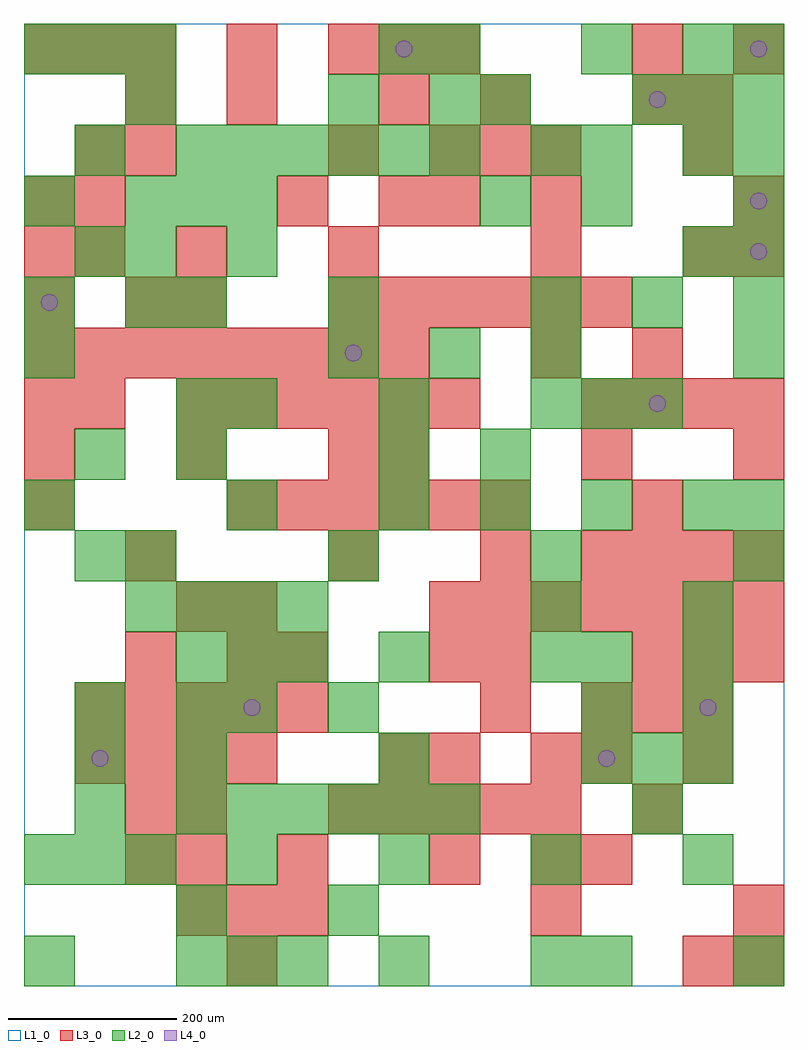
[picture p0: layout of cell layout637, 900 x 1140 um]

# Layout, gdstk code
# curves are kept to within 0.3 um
import gdstk
lib = gdstk.Library(unit=1e-6, precision=1e-09)
def R(c, l, rs):  # rectangles x0, y0, x1, y1
    for r in rs: c.add(gdstk.rectangle(r[:2], r[2:], *l))
def A(c, l, x, y, w, h, nx, ny, dx, dy):  # array of equal rectangles
    R(c, l, [(x+i*dx, y+j*dy, x+i*dx+w, y+j*dy+h) for i in range(nx) for j in range(ny)])
def P(c, l, *ps):  # polygons
    for p in ps: c.add(gdstk.Polygon(p, *l))
L1_0 = (1, 0)
L2_0 = (2, 0)
L3_0 = (3, 0)
L4_0 = (4, 0)

layout637 = lib.new_cell('layout637')
R(layout637, L1_0, [(0,0,900,1140)])
A(layout637, L2_0, 180, 0, 60, 60, 3, 2, 60, 360)
A(layout637, L2_0, 0, 120, 60, 60, 3, 2, 60, 960)
A(layout637, L2_0, 240, 120, 60, 60, 4, 1, 180, 0)
A(layout637, L2_0, 60, 180, 60, 60, 1, 3, 0, 60)
A(layout637, L2_0, 180, 180, 60, 60, 6, 2, 60, 780)
A(layout637, L2_0, 180, 240, 60, 60, 3, 1, 240, 0)
A(layout637, L2_0, 780, 240, 60, 60, 1, 4, 0, 60)
A(layout637, L2_0, 120, 420, 60, 60, 4, 1, 60, 0)
A(layout637, L2_0, 120, 480, 60, 60, 4, 1, 240, 0)
A(layout637, L2_0, 420, 540, 60, 60, 4, 1, 120, 0)
A(layout637, L2_0, 240, 660, 60, 60, 3, 1, 180, 0)
A(layout637, L2_0, 360, 720, 60, 60, 3, 1, 120, 0)
A(layout637, L2_0, 600, 780, 60, 60, 3, 1, 120, 0)
A(layout637, L2_0, 780, 840, 60, 60, 1, 3, 0, 120)
A(layout637, L2_0, 840, 840, 60, 60, 1, 3, 0, 60)
A(layout637, L2_0, 120, 900, 60, 60, 3, 1, 60, 0)
A(layout637, L2_0, 720, 1020, 60, 60, 3, 1, 60, 0)
R(layout637, L2_0, [(0,0,60,60), (420,0,480,60), (600,0,660,60), (660,0,720,60), (840,0,900,60), (180,60,240,120), (360,60,420,120), (720,180,780,240), (720,240,780,300), (180,300,240,360), (240,300,300,360), (360,300,420,360), (660,300,720,360), (420,360,480,420), (600,360,660,420), (660,360,720,420), (600,420,660,480), (60,480,120,540), (0,540,60,600), (240,540,300,600), (840,540,900,600), (60,600,120,660), (180,600,240,660), (420,600,480,660), (540,600,600,660), (180,660,240,720), (660,660,720,720), (720,660,780,720), (0,720,60,780), (840,720,900,780), (0,780,60,840), (120,780,180,840), (180,780,240,840), (360,780,420,840), (60,840,120,900), (120,840,180,900), (240,840,300,900), (0,900,60,960), (540,900,600,960), (660,900,720,960), (60,960,120,1020), (600,960,660,1020), (660,960,720,1020), (120,1020,180,1080), (360,1020,420,1080), (480,1020,540,1080), (540,1020,600,1080), (420,1080,480,1140), (480,1080,540,1140), (660,1080,720,1140), (840,1080,900,1140)])
A(layout637, L3_0, 180, 60, 60, 60, 3, 1, 60, 0)
A(layout637, L3_0, 480, 120, 60, 60, 1, 3, 0, 120)
A(layout637, L3_0, 360, 180, 60, 60, 5, 1, 60, 0)
A(layout637, L3_0, 60, 240, 60, 60, 4, 1, 60, 0)
A(layout637, L3_0, 60, 300, 60, 60, 5, 1, 60, 0)
A(layout637, L3_0, 660, 300, 60, 60, 3, 1, 60, 0)
A(layout637, L3_0, 720, 360, 60, 60, 3, 1, 60, 0)
A(layout637, L3_0, 480, 420, 60, 60, 7, 1, 60, 0)
A(layout637, L3_0, 660, 480, 60, 60, 4, 2, 60, 180)
A(layout637, L3_0, 0, 540, 60, 60, 1, 3, 0, 120)
A(layout637, L3_0, 240, 540, 60, 60, 6, 1, 60, 0)
A(layout637, L3_0, 0, 600, 60, 60, 3, 1, 180, 0)
A(layout637, L3_0, 180, 660, 60, 60, 6, 1, 60, 0)
A(layout637, L3_0, 0, 720, 60, 60, 8, 1, 60, 0)
A(layout637, L3_0, 360, 780, 60, 60, 6, 1, 60, 0)
A(layout637, L3_0, 60, 840, 60, 60, 1, 3, 0, 60)
A(layout637, L3_0, 480, 960, 60, 60, 3, 1, 60, 0)
A(layout637, L3_0, 0, 1080, 60, 60, 3, 1, 60, 0)
A(layout637, L3_0, 360, 1080, 60, 60, 3, 1, 60, 0)
R(layout637, L3_0, [(240,0,300,60), (780,0,840,60), (840,0,900,60), (600,60,660,120), (840,60,900,120), (120,120,180,180), (180,120,240,180), (300,120,360,180), (600,120,660,180), (660,120,720,180), (120,180,180,240), (180,180,240,240), (720,180,780,240), (420,240,480,300), (600,240,660,300), (660,240,720,300), (780,240,840,300), (540,300,600,360), (120,360,180,420), (240,360,300,420), (300,360,360,420), (540,360,600,420), (180,420,240,480), (240,420,300,480), (120,480,180,540), (360,480,420,540), (540,480,600,540), (720,540,780,600), (420,600,480,660), (660,600,720,660), (840,600,900,660), (60,660,120,720), (600,720,660,780), (720,720,780,780), (120,780,180,840), (180,780,240,840), (0,840,60,900), (180,840,240,900), (360,840,420,900), (600,840,660,900), (780,840,840,900), (840,840,900,900), (0,900,60,960), (300,900,360,960), (420,900,480,960), (480,900,540,960), (600,900,660,960), (840,900,900,960), (120,960,180,1020), (360,960,420,1020), (780,960,840,1020), (120,1020,180,1080), (240,1020,300,1080), (420,1020,480,1080), (540,1020,600,1080), (720,1020,780,1080), (780,1020,840,1080), (240,1080,300,1140), (720,1080,780,1140), (840,1080,900,1140)])
P(layout637, L4_0, [(40,810),(39.239,813.827),(37.071,817.071),(33.827,819.239),(30,820),(26.173,819.239),(22.929,817.071),(20.761,813.827),(20,810),(20.761,806.173),(22.929,802.929),(26.173,800.761),(30,800),(33.827,800.761),(37.071,802.929),(39.239,806.173)],
  [(100,270),(99.239,273.827),(97.071,277.071),(93.827,279.239),(90,280),(86.173,279.239),(82.929,277.071),(80.761,273.827),(80,270),(80.761,266.173),(82.929,262.929),(86.173,260.761),(90,260),(93.827,260.761),(97.071,262.929),(99.239,266.173)],
  [(280,330),(279.239,333.827),(277.071,337.071),(273.827,339.239),(270,340),(266.173,339.239),(262.929,337.071),(260.761,333.827),(260,330),(260.761,326.173),(262.929,322.929),(266.173,320.761),(270,320),(273.827,320.761),(277.071,322.929),(279.239,326.173)],
  [(400,750),(399.239,753.827),(397.071,757.071),(393.827,759.239),(390,760),(386.173,759.239),(382.929,757.071),(380.761,753.827),(380,750),(380.761,746.173),(382.929,742.929),(386.173,740.761),(390,740),(393.827,740.761),(397.071,742.929),(399.239,746.173)],
  [(460,1110),(459.239,1113.827),(457.071,1117.071),(453.827,1119.239),(450,1120),(446.173,1119.239),(442.929,1117.071),(440.761,1113.827),(440,1110),(440.761,1106.173),(442.929,1102.929),(446.173,1100.761),(450,1100),(453.827,1100.761),(457.071,1102.929),(459.239,1106.173)],
  [(700,270),(699.239,273.827),(697.071,277.071),(693.827,279.239),(690,280),(686.173,279.239),(682.929,277.071),(680.761,273.827),(680,270),(680.761,266.173),(682.929,262.929),(686.173,260.761),(690,260),(693.827,260.761),(697.071,262.929),(699.239,266.173)],
  [(760,690),(759.239,693.827),(757.071,697.071),(753.827,699.239),(750,700),(746.173,699.239),(742.929,697.071),(740.761,693.827),(740,690),(740.761,686.173),(742.929,682.929),(746.173,680.761),(750,680),(753.827,680.761),(757.071,682.929),(759.239,686.173)],
  [(760,1050),(759.239,1053.827),(757.071,1057.071),(753.827,1059.239),(750,1060),(746.173,1059.239),(742.929,1057.071),(740.761,1053.827),(740,1050),(740.761,1046.173),(742.929,1042.929),(746.173,1040.761),(750,1040),(753.827,1040.761),(757.071,1042.929),(759.239,1046.173)],
  [(820,330),(819.239,333.827),(817.071,337.071),(813.827,339.239),(810,340),(806.173,339.239),(802.929,337.071),(800.761,333.827),(800,330),(800.761,326.173),(802.929,322.929),(806.173,320.761),(810,320),(813.827,320.761),(817.071,322.929),(819.239,326.173)],
  [(880,870),(879.239,873.827),(877.071,877.071),(873.827,879.239),(870,880),(866.173,879.239),(862.929,877.071),(860.761,873.827),(860,870),(860.761,866.173),(862.929,862.929),(866.173,860.761),(870,860),(873.827,860.761),(877.071,862.929),(879.239,866.173)],
  [(880,930),(879.239,933.827),(877.071,937.071),(873.827,939.239),(870,940),(866.173,939.239),(862.929,937.071),(860.761,933.827),(860,930),(860.761,926.173),(862.929,922.929),(866.173,920.761),(870,920),(873.827,920.761),(877.071,922.929),(879.239,926.173)],
  [(880,1110),(879.239,1113.827),(877.071,1117.071),(873.827,1119.239),(870,1120),(866.173,1119.239),(862.929,1117.071),(860.761,1113.827),(860,1110),(860.761,1106.173),(862.929,1102.929),(866.173,1100.761),(870,1100),(873.827,1100.761),(877.071,1102.929),(879.239,1106.173)])

lib.write_gds('layout637.gds')
